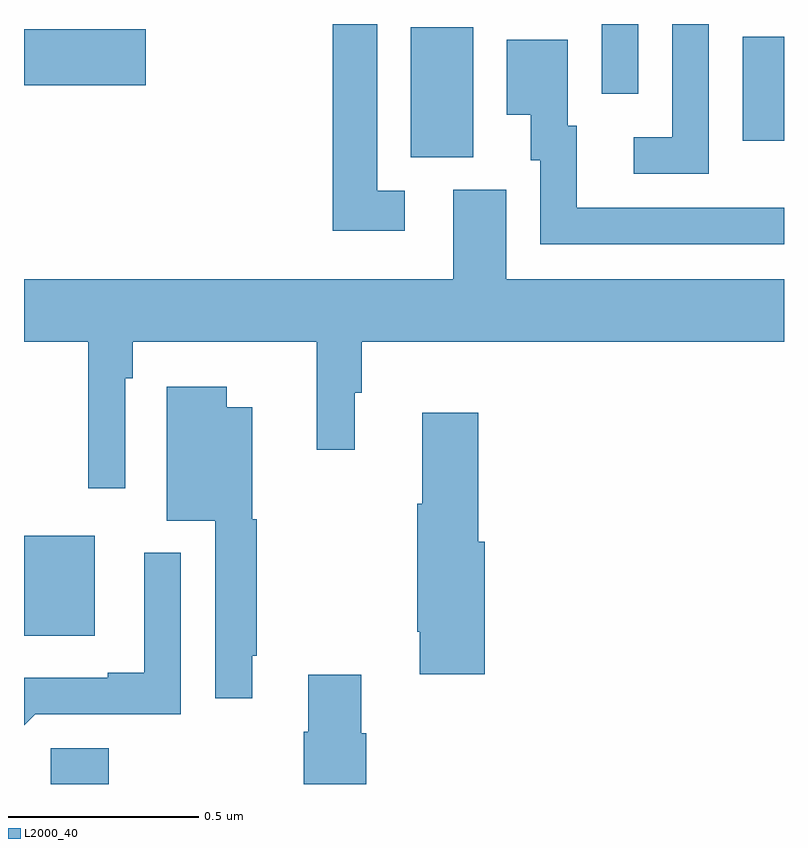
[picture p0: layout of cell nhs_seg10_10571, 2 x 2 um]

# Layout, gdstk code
import gdstk
lib = gdstk.Library(unit=1e-6, precision=1e-09)
def R(c, l, rs):  # rectangles x0, y0, x1, y1
    for r in rs: c.add(gdstk.rectangle(r[:2], r[2:], *l))
def P(c, l, *ps):  # polygons
    for p in ps: c.add(gdstk.Polygon(p, *l))
L2000_40 = (2000, 40)

nhs_seg10_10571 = lib.new_cell('nhs_seg10_10571')
R(nhs_seg10_10571, L2000_40, [(244.071,1284.5,244.223,1284.594), (244,1284.89,244.186,1285.153), (245.018,1286.149,245.182,1286.492), (245.891,1286.193,246,1286.467), (245.52,1286.316,245.616,1286.5), (244,1286.339,244.321,1286.486)])
P(nhs_seg10_10571, L2000_40, [(245.002,1286.061),(244.929,1286.061),(244.929,1286.5),(244.813,1286.5),(244.813,1285.956),(245.002,1285.956)],
  [(245.802,1286.5),(245.706,1286.5),(245.706,1286.202),(245.604,1286.202),(245.604,1286.106),(245.802,1286.106)],
  [(246,1286.017),(245.939,1286.017),(245.939,1286.016),(245.455,1286.016),(245.455,1286.232),(245.431,1286.232),(245.431,1286.458),(245.27,1286.458),(245.27,1286.261),(245.333,1286.261),(245.333,1286.142),(245.358,1286.142),(245.358,1285.92),(246,1285.92)],
  [(244.266,1285.568),(244.286,1285.568),(244.286,1285.664),(244.771,1285.664),(244.771,1285.38),(244.87,1285.38),(244.87,1285.53),(244.889,1285.53),(244.889,1285.664),(246,1285.664),(246,1285.828),(245.269,1285.828),(245.269,1286.064),(245.129,1286.064),(245.129,1285.828),(244,1285.828),(244,1285.664),(244.169,1285.664),(244.169,1285.278),(244.266,1285.278)],
  [(244.6,1284.838),(244.612,1284.838),(244.612,1285.197),(244.6,1285.197),(244.6,1285.492),(244.534,1285.492),(244.534,1285.546),(244.376,1285.546),(244.376,1285.193),(244.503,1285.193),(244.503,1284.726),(244.6,1284.726)],
  [(245.213,1285.137),(245.195,1285.137),(245.195,1285.477),(245.048,1285.477),(245.048,1285.237),(245.035,1285.237),(245.035,1284.901),(245.042,1284.901),(245.042,1284.789),(245.213,1284.789)],
  [(244.029,1284.684),(244.413,1284.684),(244.413,1285.108),(244.316,1285.108),(244.316,1284.793),(244.22,1284.793),(244.22,1284.78),(244,1284.78),(244,1284.655)],
  [(244.901,1284.633),(244.888,1284.633),(244.888,1284.787),(244.748,1284.787),(244.748,1284.638),(244.736,1284.638),(244.736,1284.5),(244.901,1284.5)])

lib.write_gds('nhs_seg10_10571.gds')
